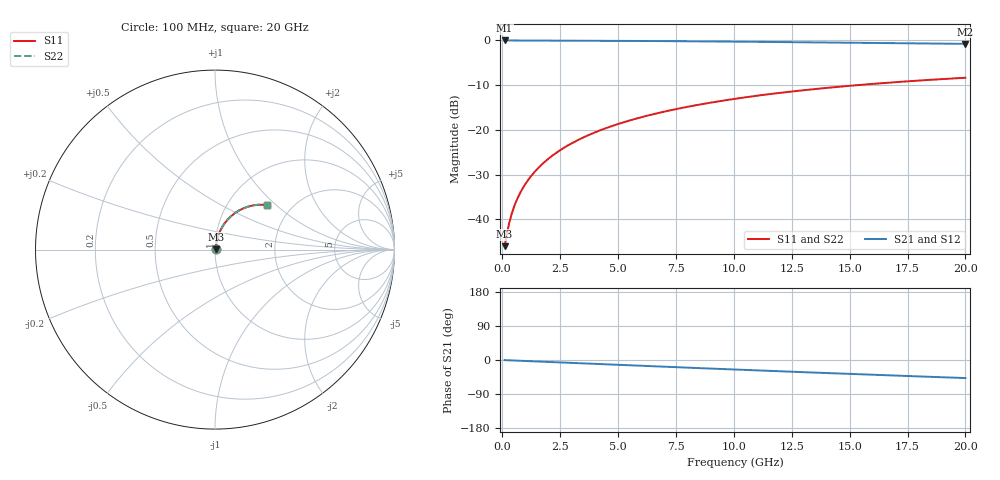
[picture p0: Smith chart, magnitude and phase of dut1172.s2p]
! Touchstone file exported from HFSS 2026.1.0
!  File:  C:/ffzhzh/LocalFiles/Ansys_Project_Files/temp_train_BSMRDL_1172_1783175983_18472.aedt
!  Generated:  10:40:54 PM Jul  4, 2026
!  Design:  BSMRDL
!  Project:  temp_train_BSMRDL_1172_1783175983_18472
! Variables:
!  h_bsmrdl = 2.57um
!  h_ox = 20um
!  h_rdl = 5um
!  h_sub = 80um
!  h_tmrdl = 5um
!  h_tsv = 80um
!  h_via = 3um
!  l_bsmrdl = 726.68um
!  l_sub = 1126.68um
!  l_tmrdl = 200um
!  m_sub = 200um
!  pitch = 47.65um
!  r_tsv = 6um
!  s_tmrdl = 10um
!  w_bsmrdl = 25.43um
!  w_sub = 500um
!  w_tmrdl = 12um
!  x_tsv_center1 = 206um
!  x_tsv_center2 = 958.11um
!  x_tsv_center3 = 1170.11um
!  x_tsv_center4 = 1922.22um
!  x_tsv_center5 = 2134.22um
!  x_tsv_center6 = 2886.33um
# GHz S MA R 50.000000
! Terminal data exported
! Port[1] = BSM_RDL1_1_T1
! Port[2] = BSM_RDL1_1_T2
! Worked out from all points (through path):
!   200 points, 100 MHz to 20 GHz, reference 50 ohm
!   highest |S21| = -0.04 dB at 100 MHz (marker M1); lowest = -0.8 dB at 20 GHz (marker M2)
!   group delay of S21, straight-line fit = 6.63 ps
!   lowest |S11| = -46.0 dB at 100 MHz (marker M3), VSWR 1.01, Z = 50.4 + j0.27 ohm
!   |S11| at or under -10 dB: start of sweep to 15.39 GHz
!   |S22| runs from -46.0 to -8.4 dB; largest |S21 - S12| = 3e-15
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0.1  0.005008 32.4  0.9958 -0.3  0.9958 -0.3  0.005008 32.4
! Gamma 0 0 0 0
! Port Impedance 50 0 50 0
0.2  0.006908 49.9  0.9956 -0.5  0.9956 -0.5  0.006908 49.9
0.3  0.009112 58.7  0.9953 -0.8  0.9953 -0.8  0.009112 58.7
0.4  0.01137 63.7  0.9951 -1.1  0.9951 -1.1  0.01137 63.7
0.5  0.01362 66.9  0.9949 -1.3  0.9949 -1.3  0.01362 66.9
0.6  0.01587 69.2  0.9947 -1.6  0.9947 -1.6  0.01586 69.2
0.8  0.02035 72.4  0.9944 -2.1  0.9944 -2.1  0.02035 72.4
1.1  0.02711 75.1  0.994 -2.9  0.994 -2.9  0.02711 75.1
1.3  0.03166 76.1  0.9938 -3.4  0.9938 -3.4  0.03166 76.2
1.6  0.03852 77.1  0.9934 -4.1  0.9934 -4.1  0.03852 77.1
2.1  0.05 77.7  0.9928 -5.4  0.9928 -5.4  0.05 77.7
2.7  0.0638 77.5  0.9918 -6.9  0.9918 -6.9  0.0638 77.5
3.5  0.08212 76.6  0.9902 -9.0  0.9902 -9.0  0.08212 76.6
4.2  0.09802 75.4  0.9886 -10.7  0.9886 -10.7  0.09802 75.4
5  0.116 73.8  0.9863 -12.7  0.9863 -12.7  0.116 73.8
5.9  0.1359 71.9  0.9834 -15.0  0.9834 -15.0  0.1359 71.9
6.8  0.1554 69.9  0.9802 -17.2  0.9802 -17.2  0.1554 69.9
8.3  0.1869 66.5  0.974 -20.9  0.974 -20.9  0.1869 66.5
10.1  0.2229 62.4  0.9656 -25.3  0.9656 -25.3  0.2229 62.4
13.4  0.2835 54.9  0.9485 -33.0  0.9485 -33.0  0.2835 54.9
16.7  0.3364 47.6  0.9303 -40.5  0.9303 -40.5  0.3364 47.6
20  0.3815 40.6  0.9123 -47.7  0.9123 -47.7  0.3815 40.6
